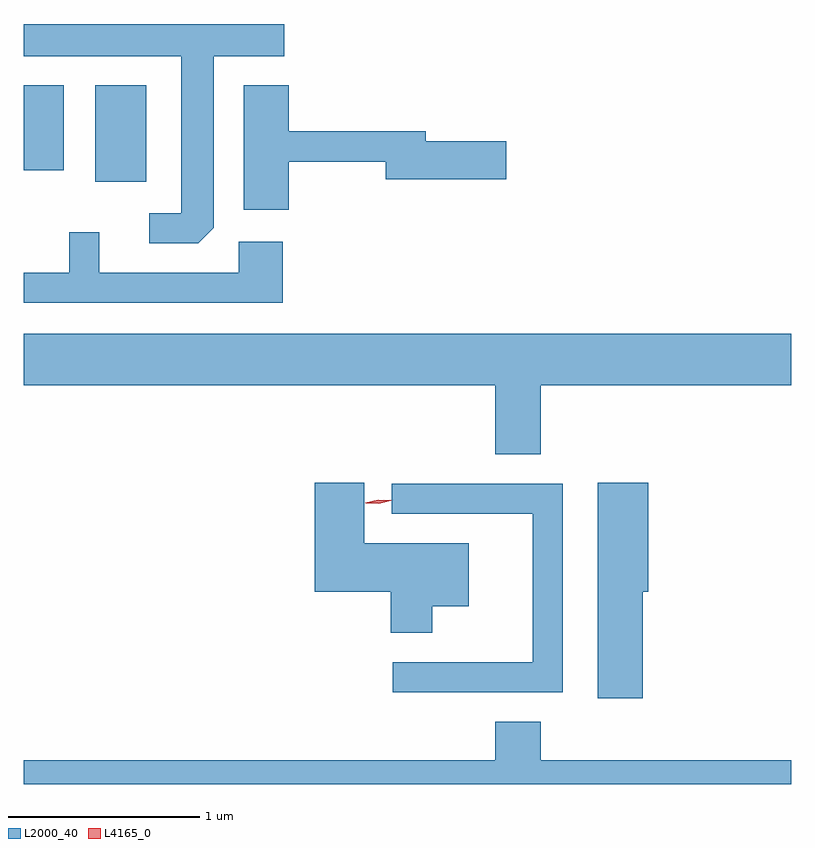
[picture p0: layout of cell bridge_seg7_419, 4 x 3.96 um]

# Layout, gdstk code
import gdstk
lib = gdstk.Library(unit=1e-6, precision=1e-09)
def R(c, l, rs):  # rectangles x0, y0, x1, y1
    for r in rs: c.add(gdstk.rectangle(r[:2], r[2:], *l))
def P(c, l, *ps):  # polygons
    for p in ps: c.add(gdstk.Polygon(p, *l))
L2000_40 = (2000, 40)
L4165_0 = (4165, 0)

bridge_seg7_419 = lib.new_cell('bridge_seg7_419')
R(bridge_seg7_419, L2000_40, [(1097.681,1715.376,1097.949,1715.879), (1097.309,1715.436,1097.519,1715.879)])
P(bridge_seg7_419, L2000_40, [(1098.299,1715.137),(1098.299,1716.031),(1098.668,1716.031),(1098.668,1716.199),(1097.309,1716.199),(1097.309,1716.031),(1098.131,1716.031),(1098.131,1715.214),(1097.963,1715.214),(1097.963,1715.056),(1098.219,1715.056)],
  [(1098.689,1715.481),(1099.196,1715.481),(1099.196,1715.391),(1099.824,1715.391),(1099.824,1715.589),(1099.404,1715.589),(1099.404,1715.639),(1098.689,1715.639),(1098.689,1715.879),(1098.456,1715.879),(1098.456,1715.231),(1098.689,1715.231)],
  [(1098.659,1715.064),(1098.431,1715.064),(1098.431,1714.904),(1097.704,1714.904),(1097.704,1715.113),(1097.546,1715.113),(1097.546,1714.904),(1097.309,1714.904),(1097.309,1714.746),(1098.659,1714.746)],
  [(1100.004,1714.316),(1101.309,1714.316),(1101.309,1714.584),(1097.309,1714.584),(1097.309,1714.316),(1099.766,1714.316),(1099.766,1713.956),(1100.004,1713.956)],
  [(1100.534,1713.241),(1100.564,1713.241),(1100.564,1713.809),(1100.301,1713.809),(1100.301,1712.686),(1100.534,1712.686)],
  [(1099.439,1713.166),(1099.629,1713.166),(1099.629,1713.494),(1099.084,1713.494),(1099.084,1713.809),(1098.826,1713.809),(1098.826,1713.241),(1099.221,1713.241),(1099.221,1713.026),(1099.439,1713.026)],
  [(1100.119,1713.804),(1099.228,1713.804),(1099.228,1713.646),(1099.961,1713.646),(1099.961,1712.874),(1099.233,1712.874),(1099.233,1712.716),(1100.119,1712.716)],
  [(1101.309,1712.364),(1100.004,1712.364),(1100.004,1712.564),(1099.766,1712.564),(1099.766,1712.364),(1097.309,1712.364),(1097.309,1712.239),(1101.309,1712.239)])
P(bridge_seg7_419, L4165_0, [(1099.158,1713.701),(1099.089,1713.704),(1099.088,1713.704),(1099.089,1713.705),(1099.156,1713.721),(1099.226,1713.718),(1099.226,1713.718),(1099.226,1713.717)],
  [(1099.158,1713.7),(1099.091,1713.703),(1099.091,1713.704),(1099.091,1713.704),(1099.156,1713.72),(1099.222,1713.717),(1099.223,1713.716),(1099.222,1713.716)])

lib.write_gds('bridge_seg7_419.gds')
